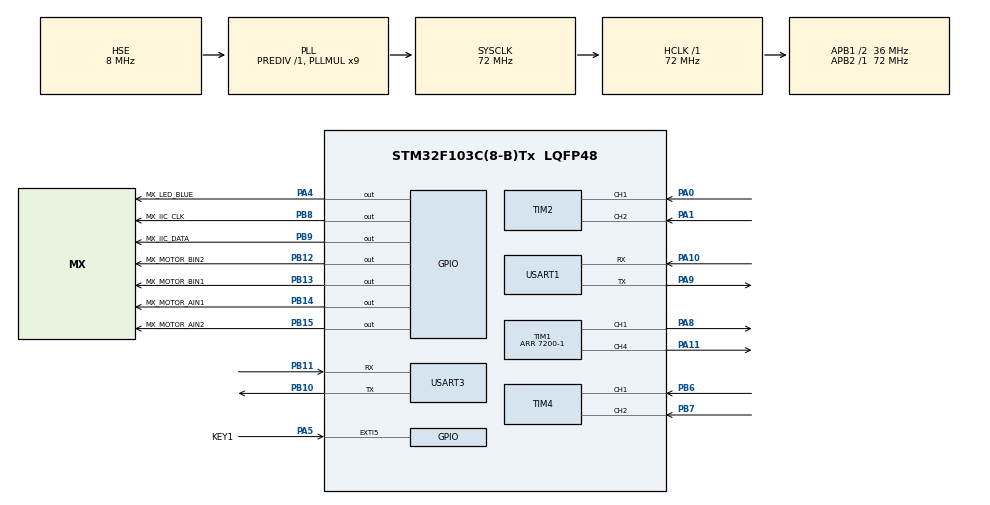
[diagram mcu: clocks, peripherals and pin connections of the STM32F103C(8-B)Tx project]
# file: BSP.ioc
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Mcu.Family=STM32F1
Mcu.Name=STM32F103C(8-B)Tx
Mcu.Package=LQFP48
NVIC.EXTI9_5_IRQn=true\:1\:0\:true\:false\:true\:true\:true\:true
NVIC.PriorityGroup=NVIC_PRIORITYGROUP_4
NVIC.TIM3_IRQn=true\:0\:0\:false\:false\:true\:true\:true\:true
NVIC.USART1_IRQn=true\:1\:0\:true\:false\:true\:true\:true\:true
NVIC.USART3_IRQn=true\:1\:0\:true\:false\:true\:true\:true\:true
PA0-WKUP.Signal=S_TIM2_CH1_ETR
PA1.Signal=S_TIM2_CH2
PA10.Mode=Asynchronous
PA10.Signal=USART1_RX
PA11.Signal=S_TIM1_CH4
PA13.Mode=Serial_Wire
PA13.Signal=SYS_JTMS-SWDIO
PA14.Mode=Serial_Wire
PA14.Signal=SYS_JTCK-SWCLK
PA4.GPIO_Label=MX_LED_BLUE
PA4.Signal=GPIO_Output
PA5.GPIO_Label=KEY1
PA5.GPIO_ModeDefaultEXTI=GPIO_MODE_IT_FALLING
PA5.Signal=GPXTI5
PA8.Signal=S_TIM1_CH1
PA9.Mode=Asynchronous
PA9.Signal=USART1_TX
PB10.Mode=Asynchronous
PB10.Signal=USART3_TX
PB11.Mode=Asynchronous
PB11.Signal=USART3_RX
PB12.GPIO_Label=MX_MOTOR_BIN2
PB12.GPIO_Speed=GPIO_SPEED_FREQ_HIGH
PB12.Signal=GPIO_Output
PB13.GPIO_Label=MX_MOTOR_BIN1
PB13.GPIO_Speed=GPIO_SPEED_FREQ_HIGH
PB13.PinState=GPIO_PIN_RESET
PB13.Signal=GPIO_Output
PB14.GPIO_Label=MX_MOTOR_AIN1
PB14.GPIO_Speed=GPIO_SPEED_FREQ_HIGH
PB14.Signal=GPIO_Output
PB15.GPIO_Label=MX_MOTOR_AIN2
PB15.GPIO_Speed=GPIO_SPEED_FREQ_HIGH
PB15.Signal=GPIO_Output
PB6.Signal=S_TIM4_CH1
PB7.Signal=S_TIM4_CH2
PB8.GPIO_Label=MX_IIC_CLK
PB8.GPIO_ModeDefaultOutputPP=GPIO_MODE_OUTPUT_OD
PB8.GPIO_PuPd=GPIO_NOPULL
PB8.GPIO_Speed=GPIO_SPEED_FREQ_HIGH
PB8.PinState=GPIO_PIN_SET
PB8.Signal=GPIO_Output
PB9.GPIO_Label=MX_IIC_DATA
PB9.GPIO_ModeDefaultOutputPP=GPIO_MODE_OUTPUT_OD
PB9.GPIO_PuPd=GPIO_NOPULL
PB9.GPIO_Speed=GPIO_SPEED_FREQ_HIGH
PB9.PinState=GPIO_PIN_SET
PB9.Signal=GPIO_Output
PD0-OSC_IN.Mode=HSE-External-Oscillator
PD0-OSC_IN.Signal=RCC_OSC_IN
PD1-OSC_OUT.Mode=HSE-External-Oscillator
PD1-OSC_OUT.Signal=RCC_OSC_OUT
ProjectManager.HeapSize=0x200
ProjectManager.StackSize=0x400
ProjectManager.TargetToolchain=Makefile
RCC.AHBFreq_Value=72000000
RCC.APB1CLKDivider=RCC_HCLK_DIV2
RCC.APB1Freq_Value=36000000
RCC.APB1TimFreq_Value=72000000
RCC.APB2Freq_Value=72000000
RCC.APB2TimFreq_Value=72000000
RCC.HCLKFreq_Value=72000000
RCC.PLLMUL=RCC_PLL_MUL9
RCC.PLLSourceVirtual=RCC_PLLSOURCE_HSE
RCC.SYSCLKFreq_VALUE=72000000
RCC.SYSCLKSource=RCC_SYSCLKSOURCE_PLLCLK
RCC.USBFreq_Value=72000000
SH.S_TIM1_CH1.0=TIM1_CH1,PWM Generation1 CH1
SH.S_TIM1_CH4.0=TIM1_CH4,PWM Generation4 CH4
SH.S_TIM2_CH1_ETR.0=TIM2_CH1,Encoder_Interface
SH.S_TIM2_CH2.0=TIM2_CH2,Encoder_Interface
SH.S_TIM4_CH1.0=TIM4_CH1,Encoder_Interface
SH.S_TIM4_CH2.0=TIM4_CH2,Encoder_Interface
TIM1.Channel-PWM\ Generation1\ CH1=TIM_CHANNEL_1
TIM1.Channel-PWM\ Generation4\ CH4=TIM_CHANNEL_4
TIM1.Period=7200-1
TIM2.EncoderMode=TIM_ENCODERMODE_TI12
TIM2.IC2Polarity=TIM_ICPOLARITY_FALLING
TIM3.Period=72-1
TIM3.Prescaler=5000-1
TIM4.EncoderMode=TIM_ENCODERMODE_TI12
TIM4.IC2Polarity=TIM_ICPOLARITY_FALLING
USART1.VirtualMode=VM_ASYNC
USART3.VirtualMode=VM_ASYNC
VP_TIM1_VS_ClockSourceINT.Mode=Internal
VP_TIM3_VS_ClockSourceINT.Mode=Internal
board=custom

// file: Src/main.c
/* USER CODE BEGIN Header */
/**
 ******************************************************************************
 * @file           : main.c
 * @brief          : Main program body
 ******************************************************************************
 * @attention
 *
 * Copyright (c) 2024 STMicroelectronics.
 * All rights reserved.
 *
 * This software is licensed under terms that can be found in the LICENSE file
 * in the root directory of this software component.
 * If no LICENSE file comes with this software, it is provided AS-IS.
 *
 ******************************************************************************
 */
/* USER CODE END Header */
#include "main.h"
#include "tim.h"
#include "usart.h"
#include "gpio.h"

/* USER CODE BEGIN Includes */
#include "bsp.h"
#include "stdio.h"
/* USER CODE END Includes */

/* USER CODE BEGIN PV */
s16 l,r, lc, rc;
u8 state = 0;

extern void gpio_write(GPIO_PinState state);
/* USER CODE END PV */

void SystemClock_Config(void);

/* USER CODE BEGIN 0 */
static void Setup_Hardware()
{
    BSP_IIC_Init();
    BSP_MPU6050_Init();
    BSP_InitMotor();
    BSP_InitEncoder();
}

/* USER CODE END 0 */

int main(void)
{
  /* USER CODE BEGIN 1 */
  float pitch, roll, yaw;
  /* USER CODE END 1 */

  /* MCU Configuration--------------------------------------------------------*/

  /* Reset of all peripherals, Initializes the Flash interface and the Systick. */
  HAL_Init();

  /* Configure the system clock */
  SystemClock_Config();

  /* Initialize all configured peripherals */
  MX_GPIO_Init();
  MX_USART1_UART_Init();
  MX_TIM1_Init();
  MX_TIM2_Init();
  MX_TIM4_Init();
  MX_TIM3_Init();
  MX_USART3_UART_Init();
  /* USER CODE BEGIN 2 */
  BSP_LED_ON(LED_BLUE);
  HAL_Delay(200);
  BSP_LED_OFF(LED_BLUE);
  Setup_Hardware();
  HAL_TIM_Base_Start_IT(&htim3);
  BSP_RECEIVE_vInit();
  /* USER CODE END 2 */

  /* Infinite loop */
  /* USER CODE BEGIN WHILE */
    s8 ret = 0;
    u8 *pdata = NULL;
    while (1)
    {
        gpio_write(state);
        // BSP_SetMotorPWMPulse(l, r);
        // BSP_SetMotorPWM(0, 20);
        // if(0 == BSP_MPU6050_DMP_Get_Angle(&pitch, &roll, &yaw))
        // {
        //     /* It comes in once every 5~6ms */
        //     // log_d("asdf\n");
        //     // log_d("pitch = %f, roll = %f, yaw = %f\n", (pitch),  (roll),  (yaw));
        // }
        // ret = BSP_RECEIVE_u8GetBuffer(&pdata);
        // if (ret != -1)
        // {
        //     printf(":%d: %s\n", ret, pdata);
        // }
        // BSP_LED_Toggle(LED_BLUE);
        // HAL_Delay(1);
    /* USER CODE END WHILE */

    }
}

void SystemClock_Config(void)
{
  RCC_OscInitTypeDef RCC_OscInitStruct = {0};
  RCC_ClkInitTypeDef RCC_ClkInitStruct = {0};

  /** Initializes the RCC Oscillators according to the specified parameters
  * in the RCC_OscInitTypeDef structure.
  */
  RCC_OscInitStruct.OscillatorType = RCC_OSCILLATORTYPE_HSE;
  RCC_OscInitStruct.HSEState = RCC_HSE_ON;
  RCC_OscInitStruct.HSEPredivValue = RCC_HSE_PREDIV_DIV1;
  RCC_OscInitStruct.HSIState = RCC_HSI_ON;
  RCC_OscInitStruct.PLL.PLLState = RCC_PLL_ON;
  RCC_OscInitStruct.PLL.PLLSource = RCC_PLLSOURCE_HSE;
  RCC_OscInitStruct.PLL.PLLMUL = RCC_PLL_MUL9;
  if (HAL_RCC_OscConfig(&RCC_OscInitStruct) != HAL_OK)
  {
    Error_Handler();
  }

  /** Initializes the CPU, AHB and APB buses clocks
  */
  RCC_ClkInitStruct.ClockType = RCC_CLOCKTYPE_HCLK|RCC_CLOCKTYPE_SYSCLK
                              |RCC_CLOCKTYPE_PCLK1|RCC_CLOCKTYPE_PCLK2;
  RCC_ClkInitStruct.SYSCLKSource = RCC_SYSCLKSOURCE_PLLCLK;
  RCC_ClkInitStruct.AHBCLKDivider = RCC_SYSCLK_DIV1;
  RCC_ClkInitStruct.APB1CLKDivider = RCC_HCLK_DIV2;
  RCC_ClkInitStruct.APB2CLKDivider = RCC_HCLK_DIV1;

  if (HAL_RCC_ClockConfig(&RCC_ClkInitStruct, FLASH_LATENCY_2) != HAL_OK)
  {
    Error_Handler();
  }
}

void Error_Handler(void)
{
    __disable_irq();
    while (1)
    {
    }
}
